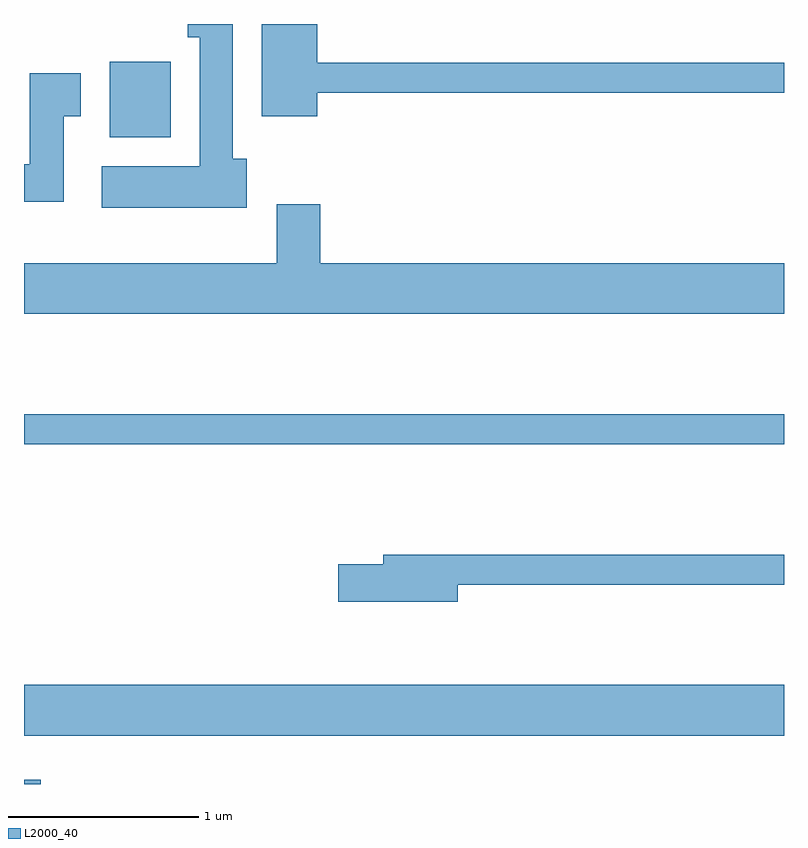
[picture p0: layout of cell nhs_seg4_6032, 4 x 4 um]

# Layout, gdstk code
import gdstk
lib = gdstk.Library(unit=1e-6, precision=1e-09)
def R(c, l, rs):  # rectangles x0, y0, x1, y1
    for r in rs: c.add(gdstk.rectangle(r[:2], r[2:], *l))
def P(c, l, *ps):  # polygons
    for p in ps: c.add(gdstk.Polygon(p, *l))
L2000_40 = (2000, 40)

nhs_seg4_6032 = lib.new_cell('nhs_seg4_6032')
R(nhs_seg4_6032, L2000_40, [(361.611,1349.982,361.698,1350.004), (361.611,1350.236,365.611,1350.504), (361.611,1351.771,365.611,1351.929), (362.061,1353.386,362.384,1353.784)])
P(nhs_seg4_6032, L2000_40, [(362.784,1353.274),(362.709,1353.274),(362.709,1353.982),(362.473,1353.982),(362.473,1353.911),(362.536,1353.911),(362.536,1353.234),(362.021,1353.234),(362.021,1353.016),(362.784,1353.016)],
  [(363.154,1353.621),(365.611,1353.621),(365.611,1353.779),(363.154,1353.779),(363.154,1353.982),(362.861,1353.982),(362.861,1353.496),(363.154,1353.496)],
  [(361.819,1353.496),(361.909,1353.496),(361.909,1353.724),(361.641,1353.724),(361.641,1353.244),(361.611,1353.244),(361.611,1353.046),(361.819,1353.046)],
  [(365.611,1352.724),(363.169,1352.724),(363.169,1353.034),(362.941,1353.034),(362.941,1352.724),(361.611,1352.724),(361.611,1352.456),(365.611,1352.456)],
  [(363.894,1351.031),(365.611,1351.031),(365.611,1351.189),(363.501,1351.189),(363.501,1351.139),(363.266,1351.139),(363.266,1350.941),(363.894,1350.941)])

lib.write_gds('nhs_seg4_6032.gds')
